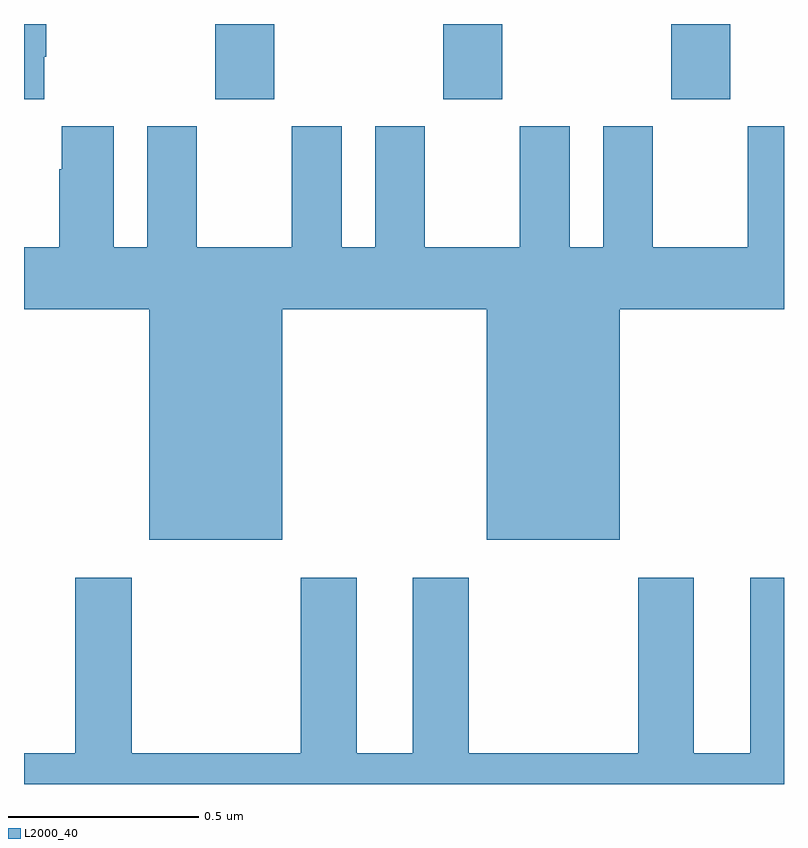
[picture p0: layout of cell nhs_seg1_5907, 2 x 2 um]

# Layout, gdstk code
import gdstk
lib = gdstk.Library(unit=1e-6, precision=1e-09)
def R(c, l, rs):  # rectangles x0, y0, x1, y1
    for r in rs: c.add(gdstk.rectangle(r[:2], r[2:], *l))
def A(c, l, x, y, w, h, nx, ny, dx, dy):  # array of equal rectangles
    R(c, l, [(x+i*dx, y+j*dy, x+i*dx+w, y+j*dy+h) for i in range(nx) for j in range(ny)])
def P(c, l, *ps):  # polygons
    for p in ps: c.add(gdstk.Polygon(p, *l))
L2000_40 = (2000, 40)

nhs_seg1_5907 = lib.new_cell('nhs_seg1_5907')
A(nhs_seg1_5907, L2000_40, 185.503, 503.001, 0.155, 0.198, 3, 1, 0.6, 0)
P(nhs_seg1_5907, L2000_40, [(185.053,503.113),(185.058,503.113),(185.058,503.199),(185,503.199),(185,503.001),(185.053,503.001)],
  [(185.68,502.448),(186.218,502.448),(186.218,501.842),(186.568,501.842),(186.568,502.448),(187,502.448),(187,502.93),(186.905,502.93),(186.905,502.612),(186.655,502.612),(186.655,502.93),(186.524,502.93),(186.524,502.612),(186.436,502.612),(186.436,502.93),(186.305,502.93),(186.305,502.612),(186.055,502.612),(186.055,502.93),(185.924,502.93),(185.924,502.612),(185.836,502.612),(185.836,502.93),(185.705,502.93),(185.705,502.612),(185.455,502.612),(185.455,502.93),(185.324,502.93),(185.324,502.612),(185.236,502.612),(185.236,502.93),(185.099,502.93),(185.099,502.817),(185.093,502.817),(185.093,502.612),(185,502.612),(185,502.448),(185.33,502.448),(185.33,501.842),(185.68,501.842)],
  [(187,501.742),(186.911,501.742),(186.911,501.28),(186.763,501.28),(186.763,501.742),(186.616,501.742),(186.616,501.28),(186.171,501.28),(186.171,501.742),(186.023,501.742),(186.023,501.28),(185.875,501.28),(185.875,501.742),(185.728,501.742),(185.728,501.28),(185.283,501.28),(185.283,501.742),(185.135,501.742),(185.135,501.28),(185,501.28),(185,501.199),(187,501.199)])

lib.write_gds('nhs_seg1_5907.gds')
